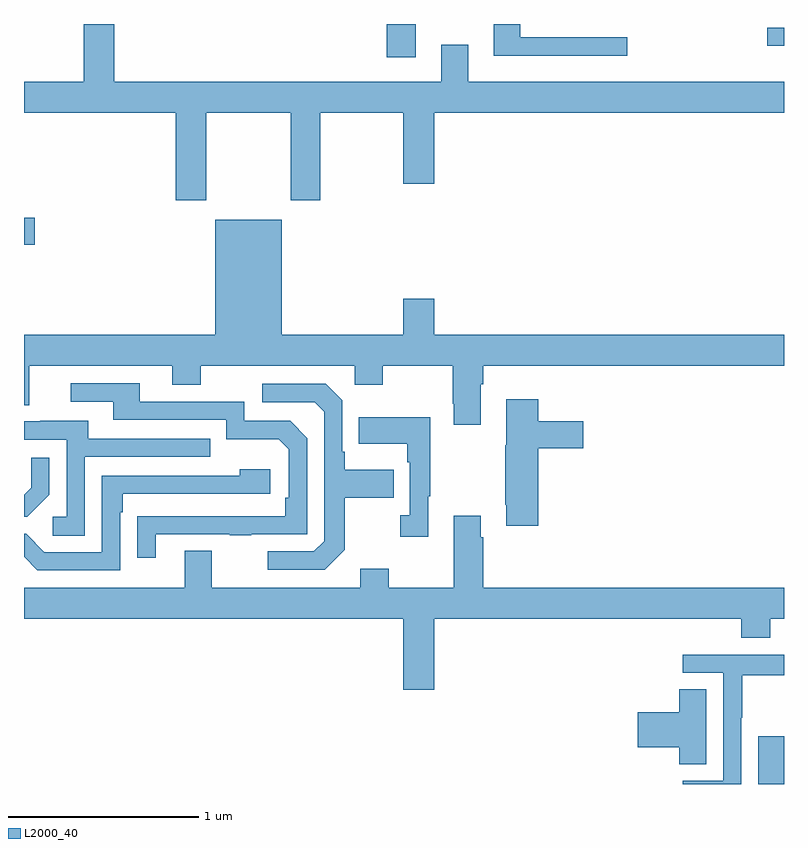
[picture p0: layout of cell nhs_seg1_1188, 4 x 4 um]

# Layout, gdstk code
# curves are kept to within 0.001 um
import gdstk
lib = gdstk.Library(unit=1e-6, precision=1e-09)
def R(c, l, rs):  # rectangles x0, y0, x1, y1
    for r in rs: c.add(gdstk.rectangle(r[:2], r[2:], *l))
def P(c, l, *ps):  # polygons
    for p in ps: c.add(gdstk.Polygon(p, *l))
L2000_40 = (2000, 40)

nhs_seg1_1188 = lib.new_cell('nhs_seg1_1188')
R(nhs_seg1_1188, L2000_40, [(178.865,548.199,179,548.451), (175,551.038,175.057,551.18), (176.909,552.024,177.061,552.199), (178.911,552.084,179,552.18)])
P(nhs_seg1_1188, L2000_40, [(175.475,552.199),(175.315,552.199),(175.315,551.896),(175,551.896),(175,551.732),(175.799,551.732),(175.799,551.271),(175.959,551.271),(175.959,551.732),(176.404,551.732),(176.404,551.271),(176.559,551.271),(176.559,551.732),(176.996,551.732),(176.996,551.358),(177.16,551.358),(177.16,551.732),(179,551.732),(179,551.896),(177.337,551.896),(177.337,552.091),(177.197,552.091),(177.197,551.896),(175.475,551.896)],
  [(178.174,552.129),(177.613,552.129),(177.613,552.199),(177.473,552.199),(177.473,552.032),(178.174,552.032)],
  [(177.403,550.304),(177.416,550.304),(177.416,550.4),(179,550.4),(179,550.564),(177.16,550.564),(177.16,550.753),(176.996,550.753),(176.996,550.564),(176.356,550.564),(176.356,551.17),(176.006,551.17),(176.006,550.564),(175,550.564),(175,550.192),(175.027,550.192),(175.027,550.4),(175.781,550.4),(175.781,550.301),(175.929,550.301),(175.929,550.4),(176.742,550.4),(176.742,550.301),(176.889,550.301),(176.889,550.4),(177.256,550.4),(177.256,550.201),(177.263,550.201),(177.263,550.089),(177.403,550.089)],
  [(175.693,549.513),(176.083,549.513),(176.083,549.508),(176.195,549.508),(176.195,549.513),(176.49,549.513),(176.49,550.02),(176.4,550.11),(176.16,550.11),(176.16,550.212),(175.609,550.212),(175.609,550.308),(175.245,550.308),(175.245,550.212),(175.469,550.212),(175.469,550.116),(176.064,550.116),(176.064,550.013),(176.341,550.013),(176.394,549.96),(176.394,549.706),(176.374,549.706),(176.374,549.609),(175.597,549.608),(175.597,549.39),(175.693,549.39)],
  [(176.689,549.433),(176.689,549.706),(176.945,549.706),(176.945,549.853),(176.689,549.853),(176.689,549.949),(176.676,549.949),(176.676,550.218),(176.589,550.305),(176.253,550.305),(176.253,550.209),(176.529,550.209),(176.58,550.158),(176.58,549.477),(176.526,549.423),(176.283,549.423),(176.283,549.327),(176.583,549.327)],
  [(177.707,549.965),(177.943,549.965),(177.943,550.107),(177.707,550.107),(177.707,550.225),(177.539,550.225),(177.539,549.981),(177.532,549.981),(177.532,549.67),(177.539,549.67),(177.539,549.558),(177.707,549.558)],
  [(177.127,549.713),(177.139,549.713),(177.139,550.129),(176.761,550.129),(176.761,549.989),(177.018,549.989),(177.018,549.893),(177.03,549.893),(177.03,549.614),(176.979,549.614),(176.979,549.501),(177.127,549.501)],
  [(175.32,549.921),(175.979,549.921),(175.979,550.017),(175.339,550.017),(175.339,550.111),(175.085,550.111),(175.085,550.107),(175,550.107),(175,550.011),(175.224,550.011),(175.224,549.606),(175.152,549.606),(175.152,549.505),(175.32,549.505)],
  [(175.134,549.722),(175.134,549.916),(175.037,549.916),(175.037,549.759),(175,549.722),(175,549.606),(175.018,549.606)],
  [(175.506,549.629),(175.519,549.629),(175.519,549.726),(176.296,549.726),(176.296,549.856),(176.135,549.856),(176.135,549.822),(175.41,549.822),(175.41,549.42),(175.107,549.42),(175.011,549.516),(175,549.516),(175,549.395),(175.071,549.324),(175.506,549.324)],
  [(176.771,549.331),(176.771,549.232),(175.987,549.232),(175.987,549.427),(175.847,549.427),(175.847,549.232),(175,549.232),(175,549.068),(176.996,549.068),(176.996,548.694),(177.16,548.694),(177.16,549.068),(178.775,549.068),(178.775,548.969),(178.927,548.969),(178.927,549.068),(179,549.068),(179,549.232),(177.416,549.232),(177.416,549.497),(177.403,549.497),(177.403,549.61),(177.263,549.61),(177.263,549.232),(176.919,549.232),(176.919,549.331)],
  [(178.776,548.548),(178.779,548.548),(178.779,548.772),(179,548.772),(179,548.88),(178.467,548.88),(178.467,548.784),(178.68,548.784),(178.68,548.217),(178.467,548.217),(178.467,548.199),(178.776,548.199)],
  [(178.591,548.699),(178.448,548.699),(178.448,548.576),(178.23,548.576),(178.23,548.393),(178.448,548.393),(178.448,548.302),(178.591,548.302)])

lib.write_gds('nhs_seg1_1188.gds')
